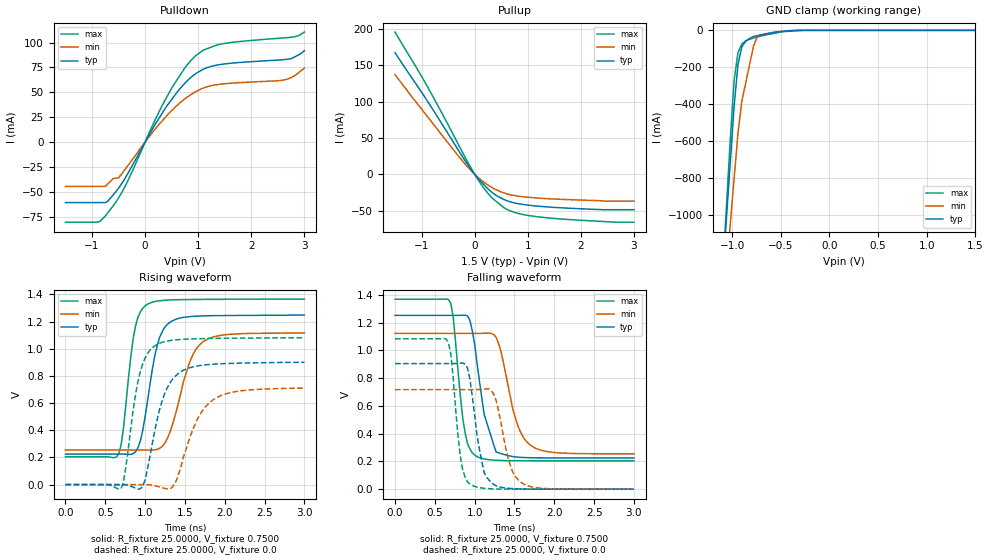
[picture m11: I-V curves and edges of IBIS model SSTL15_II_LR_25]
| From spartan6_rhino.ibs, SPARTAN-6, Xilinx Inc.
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|   Model SSTL15_II_LR_25
[Model]  SSTL15_II_LR_25
Model_type I/O
Polarity   Non-Inverting
Enable   Active-Low
Vinl = 0.65
Vinh = 0.85
Vmeas =  0.7500V
Cref =   0.0F
Rref =   25.0000
Vref =   0.7500V
C_comp   6.08pF   5.79pF   6.38pF
|C_comp  6.55pF   6.18pF   6.90pF
[Model Spec]
 Vinl  0.65  0.59  0.71
 Vinh  0.85  0.79  0.91
[Temperature Range]   25.0000   85.0000   0.0
[Voltage Range]   1.5000V   1.4250V   1.5750V
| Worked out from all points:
|   slope of the pulldown table from 0 to 0.225 V, typ, clamps not added: 10.8 ohm
|   slope of the pullup table from 0 to 0.225 V, typ, clamps not added: 12.3 ohm
|   GND clamp passes 1 mA (typ) near -0.38 V on its own axis
|   rising waveform, R_fixture 25.0000, V_fixture 0.7500: 20-80 % time 183ps typ, 256ps min, 137ps max; typ from 0.225 V to 1.25 V
|   rising waveform, R_fixture 25.0000, V_fixture 0.0: 20-80 % time 234ps typ, 298ps min, 179ps max; typ from 0 V to 0.901 V
|   falling waveform, R_fixture 25.0000, V_fixture 0.7500: 20-80 % time 180ps typ, 217ps min, 123ps max; typ from 1.25 V to 0.225 V
|   falling waveform, R_fixture 25.0000, V_fixture 0.0: 20-80 % time 140ps typ, 170ps min, 107ps max; typ from 0.905 V to 0 V
[Pulldown]
|Voltage   I(typ)   I(min)   I(max)
-1.5V     -60.81mA   -44.53mA   -80.5mA
-900mV    -60.81mA   -44.53mA   -80.5mA
-750mV    -60.81mA   -44.53mA   -74.29mA
-600mV    -52.97mA   -36.6mA    -63.99mA
-500mV    -46.32mA   -35.83mA   -56.06mA
-400mV    -38.36mA   -28.85mA   -46.83mA
200mV     18.78mA    13.88mA    23.43mA
500mV     42.73mA    31.64mA    54.16mA
950mV     68.63mA    50.54mA    86.63mA
1.45V     78.19mA    58.35mA    98.66mA
2.65V     83.07mA    62.75mA    104.8mA
3V        91.84mA    74.38mA    110.5mA
[Pullup]
|Voltage   I(typ)   I(min)   I(max)
-1.5V     167.4mA    137.4mA    195.8mA
-800mV    90.53mA    71.09mA    109mA
-300mV    32.3mA     24.62mA    40.07mA
-50mV     4.878mA    3.637mA    6.22mA
100mV     -8.675mA   -6.58mA    -11.5mA
250mV     -20.14mA   -14.87mA   -26.25mA
400mV     -28.83mA   -21.09mA   -36.96mA
550mV     -34.75mA   -25.57mA   -45.95mA
800mV     -40.23mA   -29.88mA   -53.55mA
1.25V     -44.27mA   -33.07mA   -59.1mA
2.4V      -48.8mA    -36.5mA    -64.95mA
3V        -48.8mA    -37mA      -66mA
[GND_clamp]
|Voltage   I(typ)   I(min)   I(max)
-1.5V     -4.445A    -4.05A     -5.062A
-1.1V     -1.342A    -1.554A    -1.341A
-1.06V    -1.032A    -1.304A    -970.1mA
-1.02V    -722.3mA   -1.055A    -598.8mA
-980mV    -413.6mA   -806mA     -272.3mA
-940mV    -185mA     -557mA     -121.6mA
-900mV    -89.08mA   -382.8mA   -73.41mA
-860mV    -59.11mA   -283.5mA   -56.43mA
-780mV    -33.17mA   -84.71mA   -41.69mA
-740mV    -28.46mA   -32.37mA   -36.07mA
-580mV    -12.5mA    -11.14mA   -17.47mA
1.5V      24.56nA    141.4nA    25.84nA
[POWER_clamp]
|Voltage   I(typ)   I(min)   I(max)
-1.5V     0A         0A         0A
-1.48V    0A         0A         0A
-1.46V    0A         0A         0A
0V        0A         0A         0A
[Ramp]
| variable   typ   min   max
dV/dt_r  0.5404/0.2537n   0.4264/0.2962n   0.6486/0.1757n
dV/dt_f  0.6162/0.1866n   0.5197/0.2388n   0.6952/0.1373n
R_load = 25.0000
[Rising Waveform]
R_fixture= 25.0000
V_fixture= 0.7500
V_fixture_min= 0.6900
V_fixture_max= 0.8100
|time   V(typ)   V(min)   V(max)
0s        224.6mV    254.7mV    204.5mV
670ps     224.6mV    254.7mV    227.9mV
850ps     227.8mV    254.7mV    1.075V
940ps     320.7mV    254.7mV    1.271V
1.03ns    614mV      254.4mV    1.328V
1.12ns    945.5mV    255.7mV    1.348V
1.24ns    1.153V     297.8mV    1.357V
1.55ns    1.236V     884.5mV    1.362V
1.73ns    1.242V     1.053V     1.364V
3ns       1.248V     1.117V     1.366V
[Rising Waveform]
R_fixture= 25.0000
V_fixture= 0.0
|time   V(typ)   V(min)   V(max)
0s        0V         0V         0V
700ps     364.3uV    -6.764uV   -25.91mV
760ps     -1.637mV   -5.953uV   138.4mV
880ps     -26.43mV   -43.22uV   662.4mV
970ps     -12.73mV   243.3uV    889.3mV
1.15ns    475.3mV    -12.27mV   1.032V
1.39ns    804.3mV    27mV       1.066V
1.64ns    871.5mV    461.5mV    1.074V
1.85ns    886.2mV    622.7mV    1.076V
3ns       900.6mV    710.5mV    1.081V
[Falling Waveform]
R_fixture= 25.0000
V_fixture= 0.7500
V_fixture_min= 0.6900
V_fixture_max= 0.8100
|time   V(typ)   V(min)   V(max)
0s        1.252V     1.122V     1.368V
700ps     1.252V     1.122V     1.339V
850ps     1.253V     1.122V     512mV
940ps     1.217V     1.122V     289.2mV
1ns       1.042V     1.122V     245.5mV
1.12ns    537.2mV    1.123V     217.9mV
1.27ns    267.8mV    1.094V     208.1mV
1.52ns    231.7mV    498.1mV    205mV
1.7ns     226.4mV    316.9mV    204.6mV
3ns       224.6mV    254.8mV    204.6mV
[Falling Waveform]
R_fixture= 25.0000
V_fixture= 0.0
|time   V(typ)   V(min)   V(max)
0s        904.6mV    717.5mV    1.083V
670ps     904.6mV    717.5mV    1.056V
700ps     904.6mV    717.5mV    975.3mV
820ps     907.7mV    717.5mV    236.3mV
940ps     794.1mV    717.5mV    36.97mV
1.12ns    117.3mV    720.8mV    6.053mV
1.24ns    33.88mV    684.1mV    1.985mV
1.45ns    5.031mV    167.7mV    266.5uV
1.61ns    1.079mV    38.78mV    50.71uV
3ns       14.97uV    22.61uV    36.9uV
